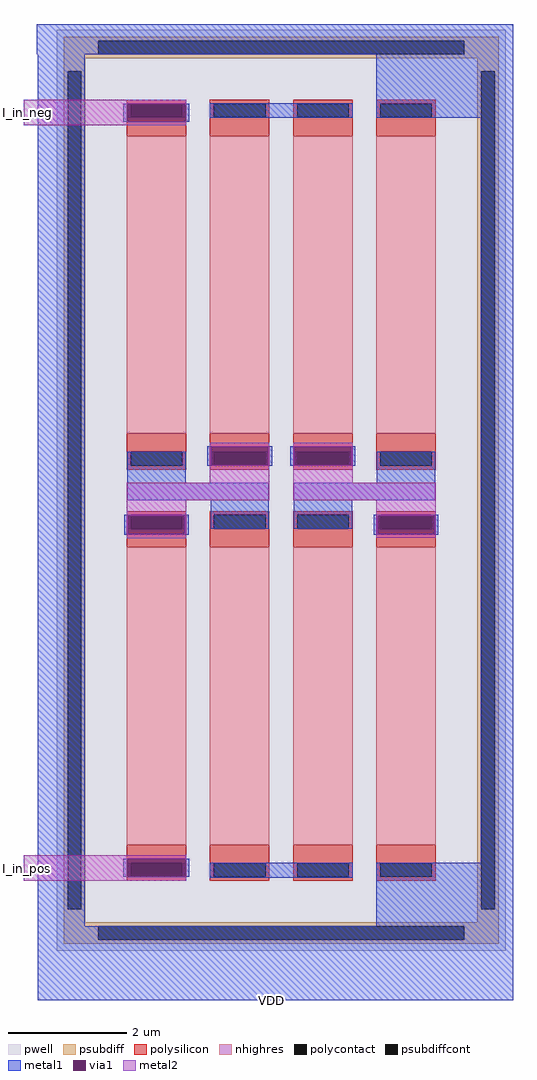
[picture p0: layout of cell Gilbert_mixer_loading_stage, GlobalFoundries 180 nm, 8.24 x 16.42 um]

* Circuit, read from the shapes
.subckt Gilbert_mixer_loading_stage I_in_neg I_in_pos VDD
XR1 n1 I_in_pos VDD ppolyf_u_1k r_width=1u r_length=5u
XR2 I_in_neg n2 VDD ppolyf_u_1k r_width=1u r_length=5u
XR3 n2 n3 VDD ppolyf_u_1k r_width=1u r_length=5u
XR4 n4 n1 VDD ppolyf_u_1k r_width=1u r_length=5u
XR5 n5 n3 VDD ppolyf_u_1k r_width=1u r_length=5u
XR6 n4 n6 VDD ppolyf_u_1k r_width=1u r_length=5u
XR7 n6 VDD VDD ppolyf_u_1k r_width=1u r_length=5u
XR8 VDD n5 VDD ppolyf_u_1k r_width=1u r_length=5u
.ends

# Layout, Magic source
magic
tech gf180mcuD
magscale 1 10
<< pwell >>
rect 181 1498 657 1521
rect 181 1471 663 1498
rect 181 1461 657 1471
<< metal1 >>
rect -123 2962 1480 3064
rect -121 28 38 2962
rect 168 2735 181 2796
rect 377 2735 390 2796
rect 459 2748 939 2798
rect 1019 2748 1480 2962
rect 450 1641 668 1644
rect 181 1521 377 1624
rect 450 1580 463 1641
rect 655 1580 668 1641
rect 450 1578 668 1580
rect 730 1641 948 1644
rect 730 1580 743 1641
rect 935 1580 948 1641
rect 730 1578 948 1580
rect 1021 1521 1217 1624
rect 181 1461 657 1521
rect 170 1410 388 1412
rect 170 1349 183 1410
rect 375 1349 388 1410
rect 461 1366 657 1461
rect 741 1461 1217 1521
rect 741 1366 937 1461
rect 1010 1410 1228 1412
rect 170 1346 388 1349
rect 1010 1349 1023 1410
rect 1215 1349 1228 1410
rect 1010 1346 1228 1349
rect 168 194 181 255
rect 377 194 390 255
rect 1371 242 1480 2748
rect 459 192 939 242
rect 1019 28 1480 242
rect -121 -220 1480 28
<< via1 >>
rect 181 2735 377 2796
rect 463 1580 655 1641
rect 743 1580 935 1641
rect 183 1349 375 1410
rect 1023 1349 1215 1410
rect 181 194 377 255
<< metal2 >>
rect -168 2796 379 2809
rect -168 2735 181 2796
rect 377 2735 379 2796
rect -168 2723 379 2735
rect 459 1641 659 1655
rect 459 1580 463 1641
rect 655 1580 659 1641
rect 459 1521 659 1580
rect 179 1461 659 1521
rect 739 1641 939 1655
rect 739 1580 743 1641
rect 935 1580 939 1641
rect 739 1521 939 1580
rect 739 1461 1219 1521
rect 179 1410 379 1461
rect 179 1349 183 1410
rect 375 1349 379 1410
rect 179 1333 379 1349
rect 1019 1410 1219 1461
rect 1019 1349 1023 1410
rect 1215 1349 1219 1410
rect 1019 1335 1219 1349
rect -168 255 379 267
rect -168 194 181 255
rect 377 194 379 255
rect -168 181 379 194
use ppolyf_u_1k_DB8C7L  ppolyf_u_1k_DB8C7L_0
transform 1 0 699 0 1 1495
box -756 -1550 756 1550
<< labels >>
rlabel metal2 -168 2765 -168 2765 3 I_in_neg
port 0 e
rlabel metal2 -168 223 -168 223 3 I_in_pos
port 1 e
rlabel metal1 667 -220 667 -220 1 VDD
port 2 n
<< end >>

# cell ppolyf_u_1k_DB8C7L: kit device ppolyf_u_1k, w 1.000 l 5.000 m 2 nx 4 wmin 1.000 lmin 1.000 class resistor rho 1000 val 5.0k dummy 0 dw 0.0 term 0.0 sterm 0.0 caplen 0.4 snake 0 glc 1 grc 1 gtc 1 gbc 1 roverlap 0 endcov 100 full_metal 1 compatible {ppolyf_u_1k ppolyf_u_1k_6p0}
